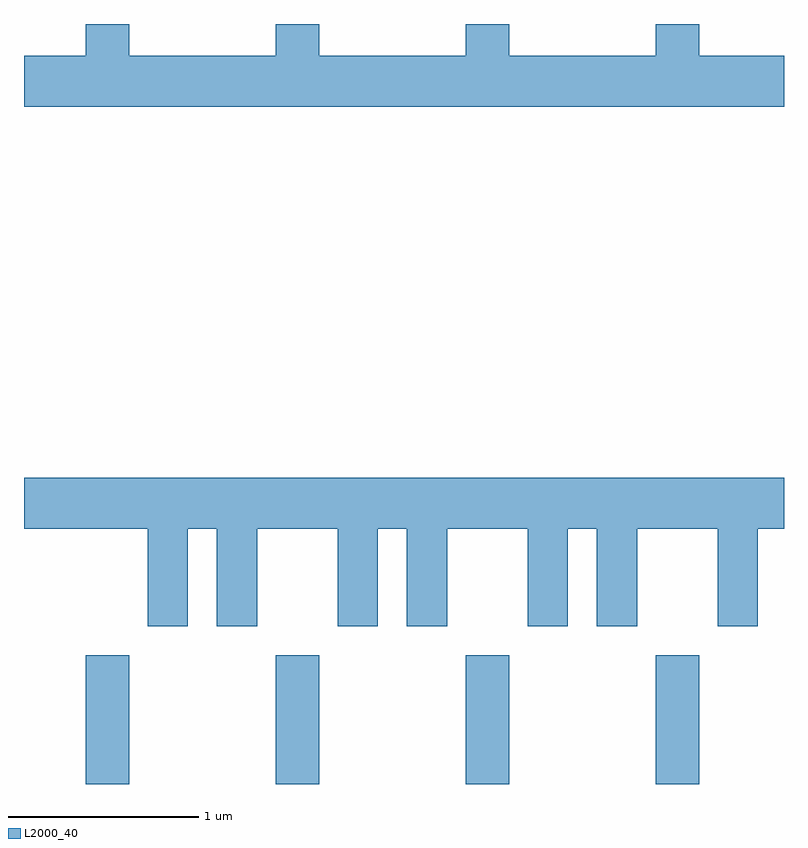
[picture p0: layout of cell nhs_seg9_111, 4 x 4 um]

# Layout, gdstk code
import gdstk
lib = gdstk.Library(unit=1e-6, precision=1e-09)
def R(c, l, rs):  # rectangles x0, y0, x1, y1
    for r in rs: c.add(gdstk.rectangle(r[:2], r[2:], *l))
def A(c, l, x, y, w, h, nx, ny, dx, dy):  # array of equal rectangles
    R(c, l, [(x+i*dx, y+j*dy, x+i*dx+w, y+j*dy+h) for i in range(nx) for j in range(ny)])
def P(c, l, *ps):  # polygons
    for p in ps: c.add(gdstk.Polygon(p, *l))
L2000_40 = (2000, 40)

nhs_seg9_111 = lib.new_cell('nhs_seg9_111')
A(nhs_seg9_111, L2000_40, 187.936, 2030.432, 0.228, 0.677, 4, 1, 1, 0)
P(nhs_seg9_111, L2000_40, [(191.611,2034.264),(191.164,2034.264),(191.164,2034.432),(190.936,2034.432),(190.936,2034.264),(190.164,2034.264),(190.164,2034.432),(189.936,2034.432),(189.936,2034.264),(189.164,2034.264),(189.164,2034.432),(188.936,2034.432),(188.936,2034.264),(188.164,2034.264),(188.164,2034.432),(187.936,2034.432),(187.936,2034.264),(187.611,2034.264),(187.611,2033.996),(191.611,2033.996)],
  [(188.474,2031.776),(188.626,2031.776),(188.626,2031.261),(188.839,2031.261),(188.839,2031.776),(189.261,2031.776),(189.261,2031.261),(189.474,2031.261),(189.474,2031.776),(189.626,2031.776),(189.626,2031.261),(189.839,2031.261),(189.839,2031.776),(190.261,2031.776),(190.261,2031.261),(190.474,2031.261),(190.474,2031.776),(190.626,2031.776),(190.626,2031.261),(190.839,2031.261),(190.839,2031.776),(191.261,2031.776),(191.261,2031.261),(191.474,2031.261),(191.474,2031.776),(191.611,2031.776),(191.611,2032.044),(187.611,2032.044),(187.611,2031.776),(188.261,2031.776),(188.261,2031.261),(188.474,2031.261)])

lib.write_gds('nhs_seg9_111.gds')
